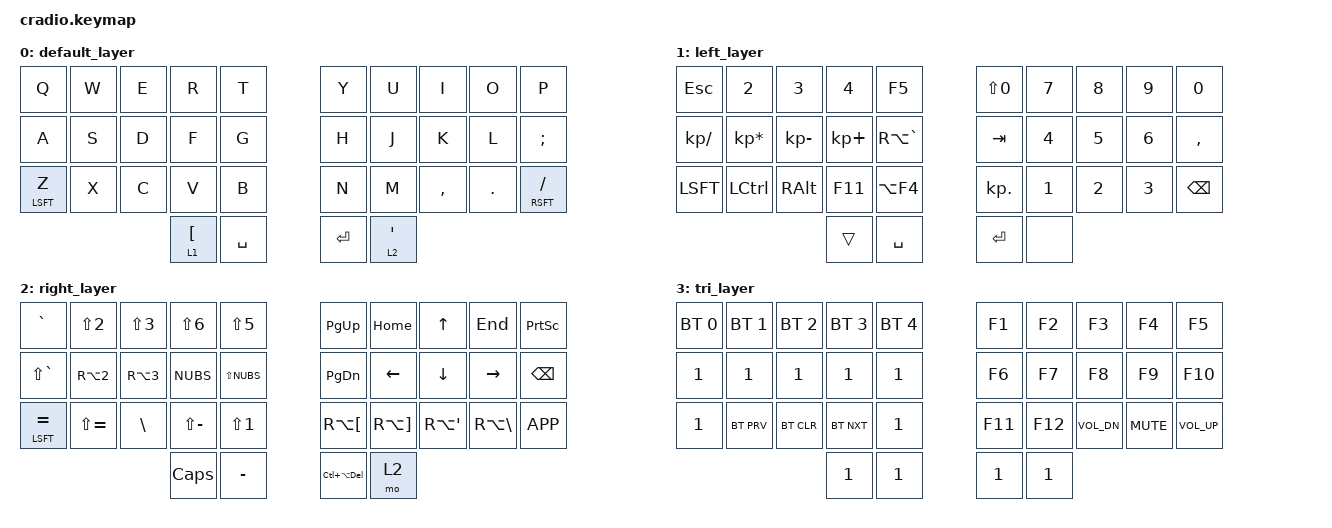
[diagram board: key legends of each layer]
/*
 * Copyright (c) 2020 The ZMK Contributors
 *
 * SPDX-License-Identifier: MIT
 */

#include <behaviors.dtsi>
#include <dt-bindings/zmk/keys.h>
#include <dt-bindings/zmk/bt.h>


&mt {
  //  flavor = "tap-preferred";
   // tapping_term_ms = <200>;
};

/ { 

    combos {
        compatible = "zmk,combos";
        combo_esc {
            timeout-ms = <50>;
            key-positions = <0 1>;
            bindings = <&kp ESC>;
        };
        
         combo_tab {
            timeout-ms = <50>;
            key-positions = <13 11>;
            bindings = <&kp TAB>;
        };
        
         combo_ralt {
            timeout-ms = <50>;
            key-positions = <18 17>;
            bindings = <&kp RALT>;
        };
        
          combo_lalt {
            timeout-ms = <50>;
            key-positions = <11 12>;
            bindings = <&kp LALT>;
        };
        
         combo_lgui {
            timeout-ms = <50>;
            key-positions = <4 3>;
            bindings = <&kp LGUI>;
        };
              
         combo_rgui {
            timeout-ms = <50>;
            key-positions = <5 6>;
            bindings = <&kp RGUI>;
        };
        
	 combo_rctrl {
            timeout-ms = <50>;
            key-positions = <18 19>;
            bindings = <&kp RCTRL>;
        };
	
	 combo_lctrl {
            timeout-ms = <50>;
            key-positions = <10 11>;
            bindings = <&kp LCTRL>;
        };
	
	combo_bspc {
            timeout-ms = <50>;
            key-positions = <8 9>;
            bindings = <&kp BSPC>;
        };
	
	combo_del {
            timeout-ms = <50>;
            key-positions = <7 8>;
            bindings = <&kp DEL>;
        };
	
	
	combo_layer3 {
            timeout-ms = <250>;
            key-positions = <0 9 20 29>;
            bindings = <&tog 3>;
        };

        
    };

        keymap {
                compatible = "zmk,keymap";
                
       		default_layer {
		bindings = <
		&kp Q      &kp W &kp E &kp R &kp T 					&kp Y &kp U  &kp I    &kp O   &kp P 
		&kp A      &kp S &kp D &kp F &kp G 			        	&kp H &kp J  &kp K    &kp L   &kp SEMI
		&mt LSFT Z &kp X &kp C &kp V &kp B				        &kp N &kp M  &kp CMMA &kp DOT &mt RSFT SLASH
          				&lt 1 LBKT &kp SPC  			&kp RET &lt 2 SQT
		>;
		};

       		left_layer {
		bindings = <
		&kp ESC         &kp NUM_2          &kp NUM_3         &kp NUM_4       &kp F5				&kp LS(NUM_0) &kp NUM_7  &kp NUM_8 &kp NUM_9  &kp NUM_0 
		&kp KP_SLASH    &kp KP_ASTERISK    &kp KP_MINUS      &kp KP_PLUS     &kp RA(GRAVE) 			&kp TAB       &kp NUM_4  &kp NUM_5 &kp NUM_6  &kp CMMA 
		&kp LSFT        &kp LCTRL 	   &kp RALT          &kp F11         &kp LA(F4) 			&kp KP_DOT    &kp NUM_1  &kp NUM_2 &kp NUM_3  &kp BSPC 
					    						&trans  &kp SPC   	&kp RET &none
		>;
		};
		
		right_layer {
		bindings = <
		&kp GRAVE       &kp LS(NUM_2)  &kp LS(NUM_3)  &kp LS(NUM_6)   &kp LS(NUM_5)		&kp PG_UP    &kp HOME     &kp UP      &kp END       &kp PSCRN 
		&kp LS(GRAVE)   &kp RA(NUM_2)  &kp RA(NUM_3)  &kp NUBS        &kp LS(NUBS)		&kp PG_DN    &kp LEFT     &kp DOWN    &kp RIGHT     &kp BKSP
		&mt LSFT EQUAL  &kp LS(EQUAL)  &kp BSLH       &kp LS(MINUS)   &kp LS(NUM_1)    	        &kp RA(LBKT) &kp RA(RBKT) &kp RA(SQT) &kp RA(BSLH)  &kp K_APP
									  &kp CAPS &kp MINUS  	    &kp LC(LA(DEL))  &mo 2 
		>;
		};	
		
		tri_layer {
		bindings = <
		&bt BT_SEL 0  &bt BT_SEL 1  &bt BT_SEL 2  &bt BT_SEL 3  &bt BT_SEL 4 			&kp F1   &kp F2   &kp F3        &kp F4      &kp F5
		&kp NUM_1     &kp NUM_1     &kp NUM_1     &kp NUM_1     &kp NUM_1  			&kp F6   &kp F7   &kp F8        &kp F9      &kp F10 
		&kp NUM_1     &bt BT_PRV    &bt BT_CLR    &bt BT_NXT    &kp NUM_1   			&kp F11  &kp F12  &kp K_VOL_DN  &kp K_MUTE  &kp K_VOL_UP   
								     &kp NUM_1 &kp NUM_1  	     &kp NUM_1 &kp NUM_1 
		>;
		};	
        
	};
};
